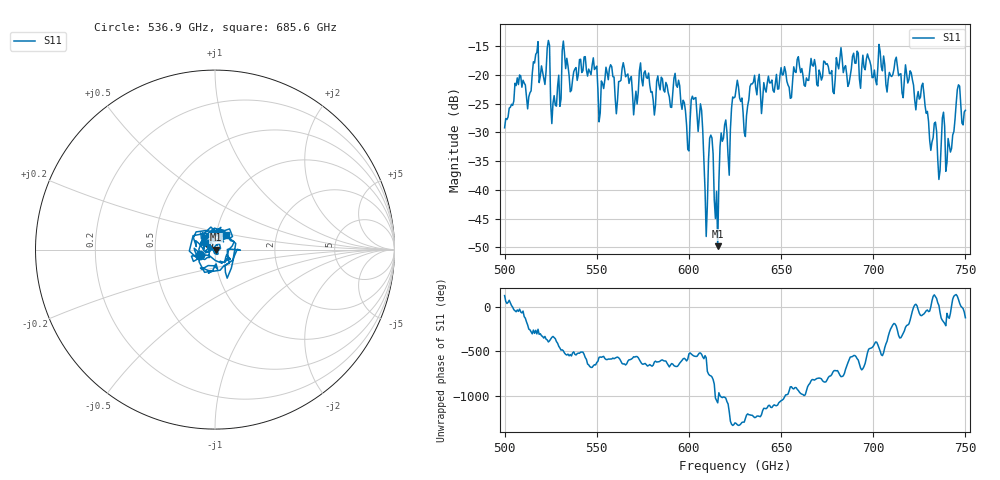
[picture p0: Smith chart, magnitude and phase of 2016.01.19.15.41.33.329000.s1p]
!Created with skrf (http://scikit-rf.org).
# GHz S RI R 50.0
!freq ReS11 ImS11
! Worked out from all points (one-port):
!   401 points, 500 GHz to 750 GHz, reference 50 ohm
!   lowest |S11| = -49.8 dB at 615.6 GHz (marker M1), VSWR 1.01, Z = 50.3 - j0.00646 ohm
!   |S11| at or under -10 dB: start of sweep to end of sweep
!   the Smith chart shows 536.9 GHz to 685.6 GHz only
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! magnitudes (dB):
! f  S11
! 500 GHz  -29.2
! 507.5 GHz  -21.7
! 513.1 GHz  -23.8
! 516.9 GHz  -16.4
! 523.1 GHz  -15.3
! 526.2 GHz  -24.9
! 531.2 GHz  -15.7
! 562.5 GHz  -21.1
! 593.8 GHz  -22.1
! 599.4 GHz  -32.9
! 602.5 GHz  -24.2
! 606.2 GHz  -25.0
! 609.4 GHz  -48.1
! 611.9 GHz  -30.5
! 614.4 GHz  -45.0
! 615.6 GHz  -49.8
! 618.1 GHz  -31.5
! 621.9 GHz  -37.4
! 625 GHz  -23.8
! 630.6 GHz  -30.7
! 634.4 GHz  -21.5
! 656.2 GHz  -21.0
! 687.5 GHz  -20.2
! 718.8 GHz  -21.4
! 735.6 GHz  -38.2
! 740.6 GHz  -31.1
! 746.2 GHz  -21.7
! 750 GHz  -26.1
